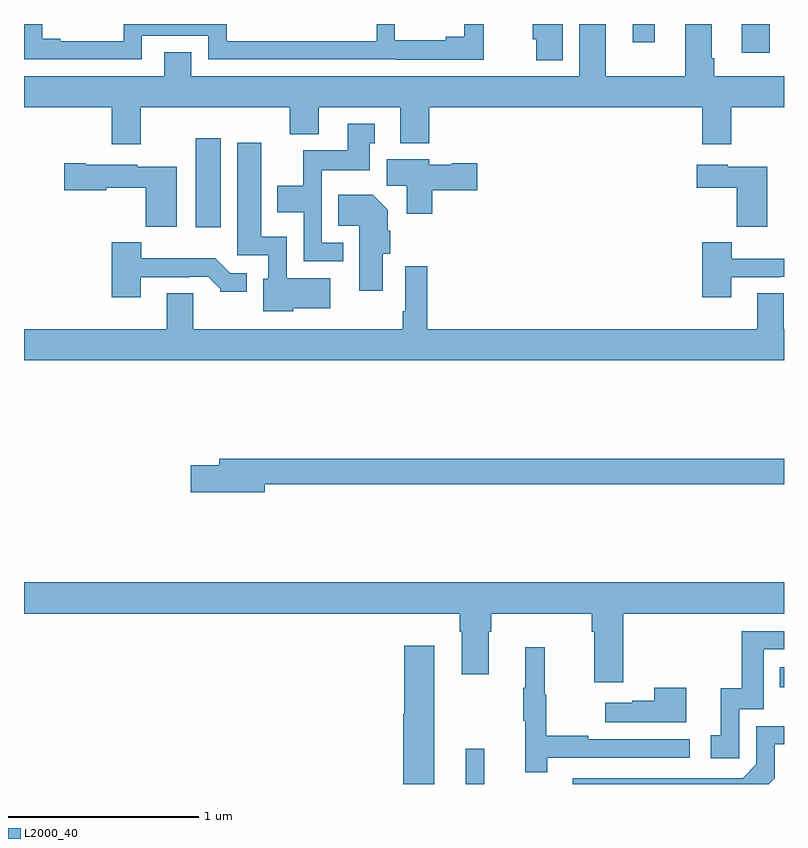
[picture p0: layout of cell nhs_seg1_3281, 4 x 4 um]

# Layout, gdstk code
import gdstk
lib = gdstk.Library(unit=1e-6, precision=1e-09)
def R(c, l, rs):  # rectangles x0, y0, x1, y1
    for r in rs: c.add(gdstk.rectangle(r[:2], r[2:], *l))
def P(c, l, *ps):  # polygons
    for p in ps: c.add(gdstk.Polygon(p, *l))
L2000_40 = (2000, 40)

nhs_seg1_3281 = lib.new_cell('nhs_seg1_3281')
R(nhs_seg1_3281, L2000_40, [(291.326,520.199,291.423,520.384), (292.978,520.707,293,520.813), (289.904,523.128,290.035,523.597), (292.778,524.049,292.925,524.199), (292.205,524.103,292.321,524.199), (290.16,524.198,290.771,524.199)])
P(nhs_seg1_3281, L2000_40, [(291.419,524.199),(291.317,524.199),(291.317,524.131),(291.221,524.131),(291.221,524.113),(290.952,524.113),(290.952,524.199),(290.856,524.199),(290.856,524.109),(290.067,524.109),(290.067,524.199),(289.524,524.199),(289.524,524.109),(289.192,524.109),(289.192,524.121),(289.097,524.121),(289.097,524.199),(289,524.199),(289,524.013),(289.62,524.013),(289.62,524.136),(289.971,524.136),(289.971,524.013),(290.959,524.013),(290.959,524.012),(291.419,524.012)],
  [(289.615,523.76),(290.399,523.76),(290.399,523.619),(290.551,523.619),(290.551,523.76),(290.981,523.76),(290.981,523.571),(291.134,523.571),(291.134,523.76),(292.571,523.76),(292.571,523.566),(292.723,523.566),(292.723,523.76),(293,523.76),(293,523.924),(292.634,523.924),(292.634,524.02),(292.621,524.02),(292.621,524.199),(292.481,524.199),(292.481,523.924),(292.063,523.924),(292.063,524.199),(291.923,524.199),(291.923,523.924),(289.879,523.924),(289.879,524.051),(289.739,524.051),(289.739,523.924),(289,523.924),(289,523.76),(289.463,523.76),(289.463,523.566),(289.615,523.566)],
  [(291.835,524.199),(291.677,524.199),(291.677,524.118),(291.695,524.118),(291.695,524.009),(291.835,524.009)],
  [(290.68,523.047),(290.568,523.047),(290.568,523.43),(290.821,523.43),(290.821,523.572),(290.845,523.572),(290.845,523.675),(290.705,523.675),(290.705,523.534),(290.47,523.534),(290.47,523.348),(290.333,523.348),(290.333,523.208),(290.472,523.208),(290.472,522.951),(290.68,522.951)],
  [(290.418,522.704),(290.611,522.704),(290.611,522.862),(290.382,522.862),(290.382,523.078),(290.248,523.078),(290.248,523.573),(290.123,523.573),(290.123,522.981),(290.286,522.981),(290.286,522.858),(290.258,522.858),(290.258,522.686),(290.418,522.686)],
  [(291.149,523.325),(291.385,523.325),(291.385,523.467),(291.252,523.467),(291.252,523.459),(291.132,523.459),(291.132,523.486),(290.909,523.486),(290.909,523.348),(291.014,523.348),(291.014,523.2),(291.149,523.2)],
  [(289.804,523.447),(289.596,523.447),(289.596,523.459),(289.324,523.459),(289.324,523.467),(289.212,523.467),(289.212,523.325),(289.434,523.325),(289.434,523.337),(289.642,523.337),(289.642,523.133),(289.804,523.133)],
  [(292.912,523.447),(292.704,523.447),(292.704,523.459),(292.542,523.459),(292.542,523.337),(292.75,523.337),(292.75,523.133),(292.912,523.133)],
  [(290.887,522.99),(290.927,522.99),(290.927,523.112),(290.914,523.112),(290.914,523.222),(290.836,523.3),(290.653,523.3),(290.653,523.136),(290.765,523.136),(290.765,522.795),(290.887,522.795)],
  [(292.723,522.867),(292.979,522.867),(292.979,522.87),(293,522.87),(293,522.964),(292.726,522.964),(292.726,523.051),(292.571,523.051),(292.571,522.762),(292.723,522.762)],
  [(289.615,522.867),(289.871,522.867),(289.871,522.87),(289.97,522.87),(290.034,522.806),(290.034,522.791),(290.173,522.791),(290.173,522.888),(290.085,522.888),(290.007,522.967),(289.618,522.967),(289.618,523.051),(289.463,523.051),(289.463,522.762),(289.615,522.762)],
  [(293,522.592),(292.999,522.592),(292.999,522.782),(292.859,522.782),(292.859,522.592),(291.122,522.592),(291.122,522.925),(291.006,522.925),(291.006,522.688),(290.994,522.688),(290.994,522.592),(289.891,522.592),(289.891,522.782),(289.751,522.782),(289.751,522.592),(289,522.592),(289,522.428),(293,522.428)],
  [(290.266,521.776),(293,521.776),(293,521.912),(290.027,521.912),(290.027,521.876),(289.878,521.876),(289.878,521.734),(290.266,521.734)],
  [(292.154,521.096),(293,521.096),(293,521.26),(289,521.26),(289,521.096),(291.293,521.096),(291.293,521),(291.305,521),(291.305,520.776),(291.445,520.776),(291.445,521),(291.458,521),(291.458,521.096),(291.989,521.096),(291.989,521),(292.001,521),(292.001,520.734),(292.154,520.734)],
  [(292.764,520.593),(292.893,520.593),(292.893,520.908),(293,520.908),(293,521.004),(292.777,521.004),(292.777,520.702),(292.667,520.702),(292.667,520.455),(292.614,520.455),(292.614,520.335),(292.764,520.335)],
  [(291.16,520.927),(291.002,520.927),(291.002,520.569),(290.996,520.569),(290.996,520.199),(291.16,520.199)],
  [(291.755,520.338),(292.504,520.338),(292.504,520.434),(291.971,520.434),(291.971,520.454),(291.748,520.454),(291.748,520.668),(291.74,520.668),(291.74,520.918),(291.638,520.918),(291.638,520.705),(291.627,520.705),(291.627,520.531),(291.638,520.531),(291.638,520.26),(291.755,520.26)],
  [(292.486,520.705),(292.316,520.705),(292.316,520.637),(292.202,520.637),(292.202,520.627),(292.059,520.627),(292.059,520.523),(292.486,520.523)],
  [(292.95,520.23),(292.95,520.407),(293,520.407),(293,520.503),(292.854,520.503),(292.854,520.302),(292.782,520.23),(291.888,520.23),(291.888,520.199),(292.919,520.199)])

lib.write_gds('nhs_seg1_3281.gds')
